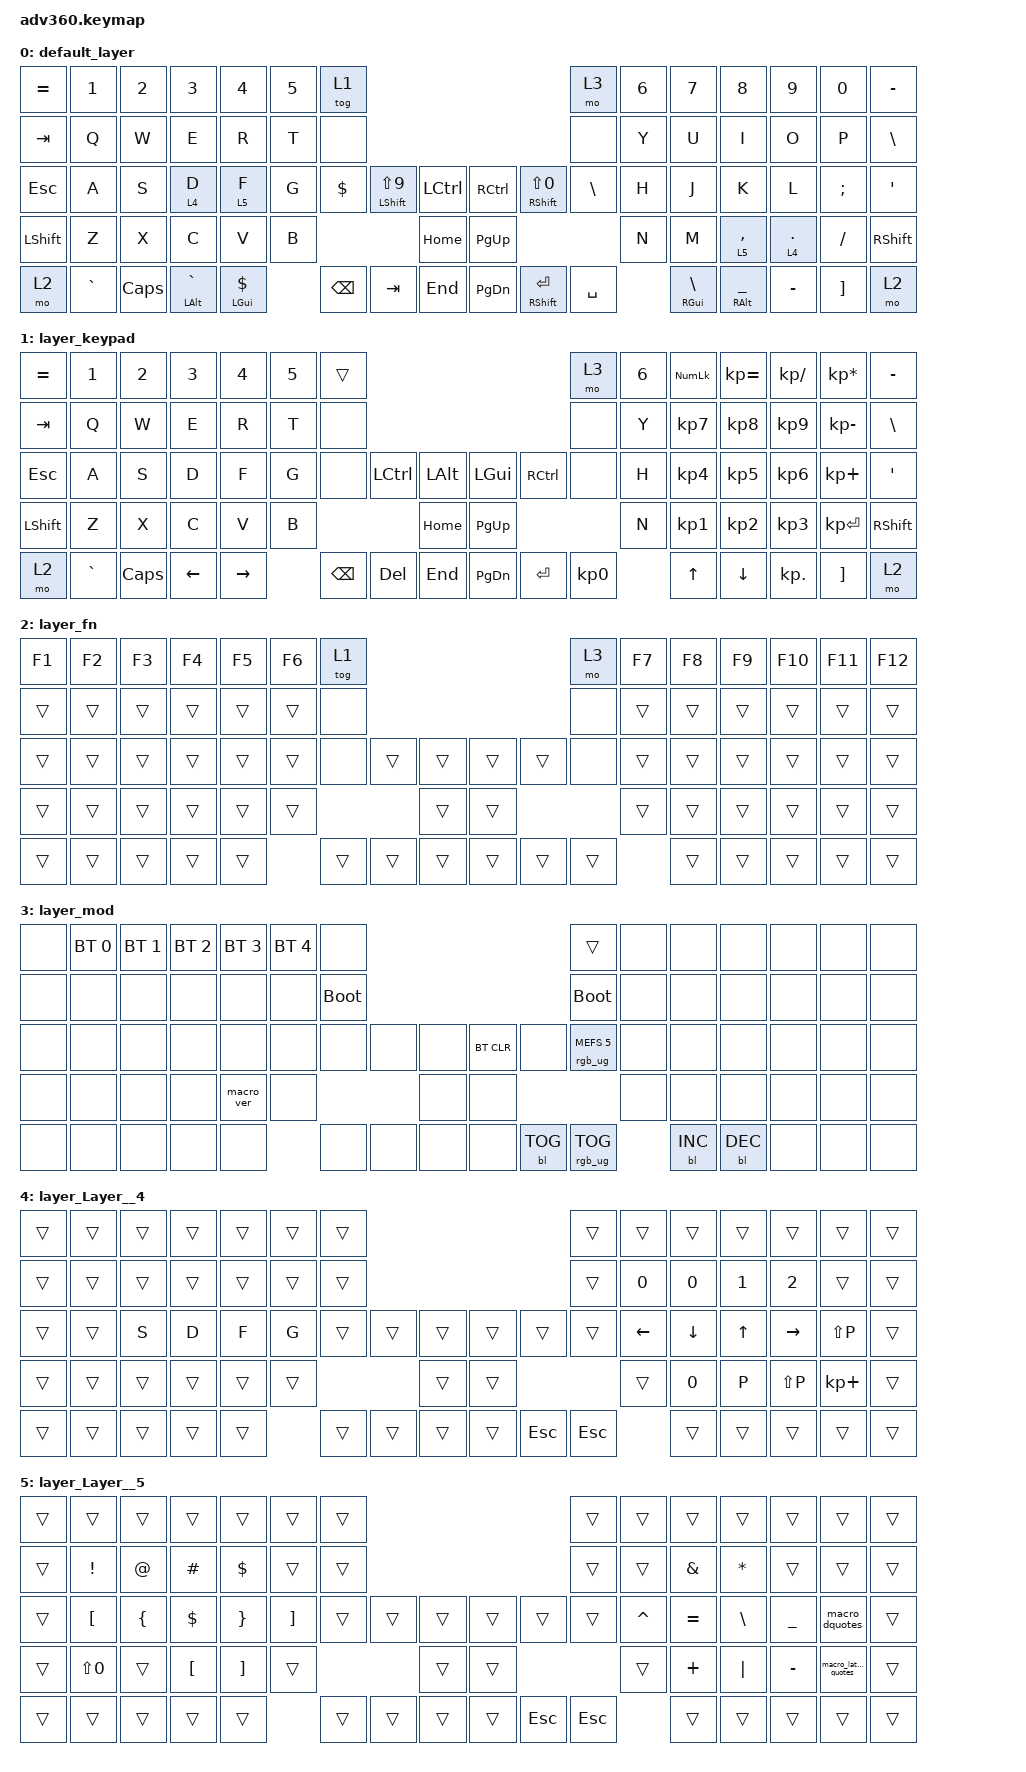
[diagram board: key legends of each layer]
/*
 * Copyright (c) 2020 The ZMK Contributors
 *
 * SPDX-License-Identifier: MIT
 */
/* THIS FILE WAS GENERATED!
 *
 * This file was generated automatically. You may or may not want to
 * edit it directly.
 */

#include <behaviors.dtsi>
#include <dt-bindings/zmk/backlight.h>
#include <dt-bindings/zmk/bt.h>
#include <dt-bindings/zmk/keys.h>
#include <dt-bindings/zmk/rgb.h>

/ {
    combos {
        compatible = "zmk,combos";

        // combo_esc {
        //    timeout-ms = <50>;
        //    key-positions = <41 42>; // jk
        //    bindings = <&kp ESC>;
        // };
    };

    behaviors {
        #include "macros.dtsi"
    #include "version.dtsi"

        hm: homerow_mods {
            compatible = "zmk,behavior-hold-tap";
            label = "HOMEROW_MODS";
            #binding-cells = <2>;
            tapping-term-ms = <200>;
            quick_tap_ms = <175>;
            flavor = "tap-preferred";
            bindings = <&kp>, <&kp>;
        };
    };

    keymap {
        compatible = "zmk,keymap";

        default_layer {
            bindings = <
&kp EQUAL  &kp N1     &kp N2    &kp N3          &kp N4           &kp N5  &tog 1                                                                      &mo 3          &kp N6  &kp N7              &kp N8               &kp N9     &kp N0    &kp MINUS
&kp TAB    &kp Q      &kp W     &kp E           &kp R            &kp T   &none                                                                       &none          &kp Y   &kp U               &kp I                &kp O      &kp P     &kp BSLH
&kp ESC    &kp A      &kp S     &lt 4 D         &lt 5 F          &kp G   &kp DOLLAR  &mt LSHIFT LS(N9)  &kp LCTRL      &kp RCTRL  &mt RSHIFT LS(N0)  &kp BACKSLASH  &kp H   &kp J               &kp K                &kp L      &kp SEMI  &kp SQT
&kp LSHFT  &kp Z      &kp X     &kp C           &kp V            &kp B                                  &kp HOME       &kp PG_UP                                    &kp N   &kp M               &lt 5 COMMA          &lt 4 DOT  &kp FSLH  &kp RSHFT
&mo 2      &kp GRAVE  &kp CAPS  &mt LALT GRAVE  &mt LGUI DOLLAR          &kp BSPC    &kp TAB            &kp END        &kp PG_DN  &mt RSHIFT ENTER   &kp SPACE              &mt RGUI BACKSLASH  &mt RALT UNDERSCORE  &kp MINUS  &kp RBKT  &mo 2
            >;
        };

        layer_keypad {
            bindings = <
&kp EQUAL  &kp N1     &kp N2    &kp N3    &kp N4     &kp N5  &trans                                                   &mo 3      &kp N6  &kp KP_NUM  &kp KP_EQUAL  &kp KP_DIVIDE  &kp KP_MULTIPLY  &kp MINUS
&kp TAB    &kp Q      &kp W     &kp E     &kp R      &kp T   &none                                                    &none      &kp Y   &kp KP_N7   &kp KP_N8     &kp KP_N9      &kp KP_MINUS     &kp BSLH
&kp ESC    &kp A      &kp S     &kp D     &kp F      &kp G   &none     &kp LCTRL  &kp LALT      &kp LGUI   &kp RCTRL  &none      &kp H   &kp KP_N4   &kp KP_N5     &kp KP_N6      &kp KP_PLUS      &kp SQT
&kp LSHFT  &kp Z      &kp X     &kp C     &kp V      &kp B                        &kp HOME      &kp PG_UP                        &kp N   &kp KP_N1   &kp KP_N2     &kp KP_N3      &kp KP_ENTER     &kp RSHFT
&mo 2      &kp GRAVE  &kp CAPS  &kp LEFT  &kp RIGHT          &kp BSPC  &kp DEL    &kp END       &kp PG_DN  &kp ENTER  &kp KP_N0          &kp UP      &kp DOWN      &kp KP_DOT     &kp RBKT         &mo 2
            >;
        };

        layer_fn {
            bindings = <
&kp F1  &kp F2  &kp F3  &kp F4  &kp F5  &kp F6  &tog 1                                      &mo 3   &kp F7  &kp F8  &kp F9  &kp F10  &kp F11  &kp F12
&trans  &trans  &trans  &trans  &trans  &trans  &none                                       &none   &trans  &trans  &trans  &trans   &trans   &trans
&trans  &trans  &trans  &trans  &trans  &trans  &none   &trans  &trans      &trans  &trans  &none   &trans  &trans  &trans  &trans   &trans   &trans
&trans  &trans  &trans  &trans  &trans  &trans                  &trans      &trans                  &trans  &trans  &trans  &trans   &trans   &trans
&trans  &trans  &trans  &trans  &trans          &trans  &trans  &trans      &trans  &trans  &trans          &trans  &trans  &trans   &trans   &trans
            >;
        };

        layer_mod {
            bindings = <
&none  &bt BT_SEL 0  &bt BT_SEL 1  &bt BT_SEL 2  &bt BT_SEL 3  &bt BT_SEL 4  &none                                                  &trans                  &none  &none       &none       &none  &none  &none
&none  &none         &none         &none         &none         &none         &bootloader                                            &bootloader             &none  &none       &none       &none  &none  &none
&none  &none         &none         &none         &none         &none         &none        &none  &none      &bt BT_CLR  &none       &rgb_ug RGB_MEFS_CMD 5  &none  &none       &none       &none  &none  &none
&none  &none         &none         &none         &macro_ver    &none                             &none      &none                                           &none  &none       &none       &none  &none  &none
&none  &none         &none         &none         &none                       &none        &none  &none      &none       &bl BL_TOG  &rgb_ug RGB_TOG                &bl BL_INC  &bl BL_DEC  &none  &none  &none
            >;
        };

        layer_Layer__4 {
            bindings = <
&trans  &trans  &trans  &trans  &trans  &trans  &trans                                          &trans   &trans    &trans        &trans  &trans     &trans       &trans
&trans  &trans  &trans  &trans  &trans  &trans  &trans                                          &trans   &kp N0    &kp N0        &kp N1  &kp N2     &trans       &trans
&trans  &trans  &kp S   &kp D   &kp F   &kp G   &trans  &trans  &trans      &trans  &trans      &trans   &kp LEFT  &kp DOWN      &kp UP  &kp RIGHT  &kp LS(P)    &trans
&trans  &trans  &trans  &trans  &trans  &trans                  &trans      &trans                       &trans    &kp NUMBER_0  &kp P   &kp LS(P)  &kp KP_PLUS  &trans
&trans  &trans  &trans  &trans  &trans          &trans  &trans  &trans      &trans  &kp ESCAPE  &kp ESC            &trans        &trans  &trans     &trans       &trans
            >;
        };

        layer_Layer__5 {
            bindings = <
&trans  &trans            &trans    &trans      &trans      &trans    &trans                                       &trans   &trans     &trans         &trans         &trans          &trans               &trans
&trans  &kp EXCL          &kp AT    &kp HASH    &kp DOLLAR  &trans    &trans                                       &trans   &trans     &kp AMPERSAND  &kp STAR       &trans          &trans               &trans
&trans  &kp LBKT          &kp LBRC  &kp DOLLAR  &kp RBRC    &kp RBKT  &trans  &trans  &trans      &trans  &trans   &trans   &kp CARET  &kp EQUAL      &kp BACKSLASH  &kp UNDERSCORE  &macro_dquotes       &trans
&trans  &kp LS(NUMBER_0)  &trans    &kp LBKT    &kp RBKT    &trans                    &trans      &trans                    &trans     &kp PLUS       &kp PIPE       &kp MINUS       &macro_latex_quotes  &trans
&trans  &trans            &trans    &trans      &trans                &trans  &trans  &trans      &trans  &kp ESC  &kp ESC             &trans         &trans         &trans          &trans               &trans
            >;
        };
    };
};
